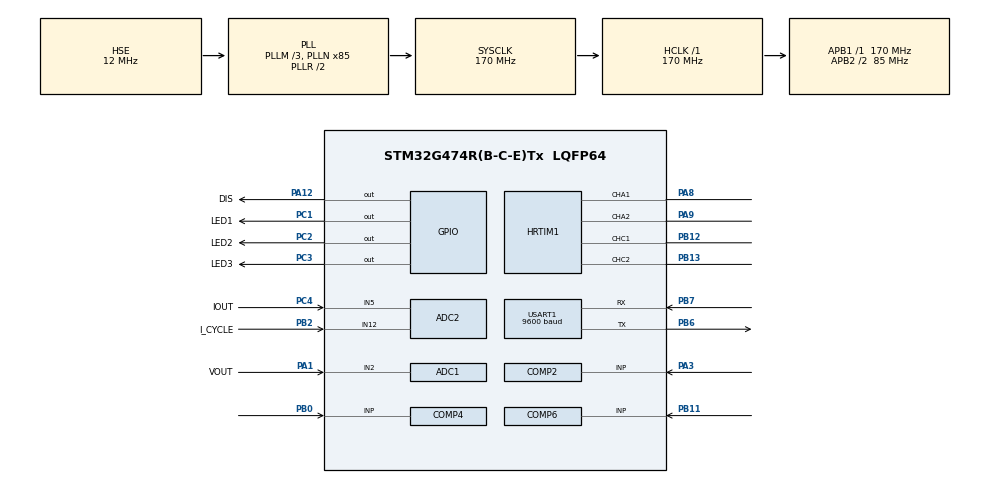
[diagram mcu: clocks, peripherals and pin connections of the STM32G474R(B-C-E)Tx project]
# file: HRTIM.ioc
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ADC1.Channel-0\#ChannelRegularConversion=ADC_CHANNEL_2
ADC1.EnableInjectedConversion=ENABLE
ADC1.EnableRegularConversion=ENABLE
ADC1.NbrOfConversionFlag=1
ADC1.OffsetNumber-0\#ChannelRegularConversion=ADC_OFFSET_NONE
ADC1.Rank-0\#ChannelRegularConversion=1
ADC1.SamplingTime-0\#ChannelRegularConversion=ADC_SAMPLETIME_247CYCLES_5
ADC1.master=1
ADC2.Channel-0\#ChannelRegularConversion=ADC_CHANNEL_12
ADC2.Channel-1\#ChannelRegularConversion=ADC_CHANNEL_5
ADC2.ContinuousConvMode=DISABLE
ADC2.DMAContinuousRequests=ENABLE
ADC2.EnableInjectedConversion=DISABLE
ADC2.ExternalTrigConv=ADC_EXTERNALTRIG_T3_TRGO
ADC2.NbrOfConversion=2
ADC2.NbrOfConversionFlag=1
ADC2.OffsetNumber-0\#ChannelRegularConversion=ADC_OFFSET_NONE
ADC2.OffsetNumber-1\#ChannelRegularConversion=ADC_OFFSET_NONE
ADC2.Rank-0\#ChannelRegularConversion=1
ADC2.Rank-1\#ChannelRegularConversion=2
ADC2.SamplingTime-0\#ChannelRegularConversion=ADC_SAMPLETIME_247CYCLES_5
ADC2.SamplingTime-1\#ChannelRegularConversion=ADC_SAMPLETIME_247CYCLES_5
COMP2.Hysteresis=COMP_HYSTERESIS_40MV
COMP2.OutputPol=COMP_OUTPUTPOL_NONINVERTED
COMP4.Hysteresis=COMP_HYSTERESIS_20MV
COMP6.Hysteresis=COMP_HYSTERESIS_20MV
DAC1.DAC_Channel-DAC_OUT2_Int=DAC_CHANNEL_2
DAC4.DAC_Channel-DAC_OUT2_Int=DAC_CHANNEL_2
Dma.ADC2.0.Direction=DMA_PERIPH_TO_MEMORY
Dma.ADC2.0.EventEnable=DISABLE
Dma.ADC2.0.Instance=DMA1_Channel1
Dma.ADC2.0.MemDataAlignment=DMA_MDATAALIGN_HALFWORD
Dma.ADC2.0.MemInc=DMA_MINC_ENABLE
Dma.ADC2.0.Mode=DMA_CIRCULAR
Dma.ADC2.0.PeriphDataAlignment=DMA_PDATAALIGN_HALFWORD
Dma.ADC2.0.PeriphInc=DMA_PINC_DISABLE
Dma.ADC2.0.Polarity=HAL_DMAMUX_REQ_GEN_RISING
Dma.ADC2.0.Priority=DMA_PRIORITY_LOW
Dma.ADC2.0.RequestNumber=1
Dma.ADC2.0.SignalID=NONE
Dma.ADC2.0.SyncEnable=DISABLE
Dma.ADC2.0.SyncPolarity=HAL_DMAMUX_SYNC_NO_EVENT
Dma.ADC2.0.SyncRequestNumber=1
Dma.ADC2.0.SyncSignalID=NONE
Dma.Request0=ADC2
HRTIM1.BlankingSourceFaultLine1=__NULL
HRTIM1.BlankingSourceFaultLine2=__NULL
HRTIM1.BlankingSourceFaultLine3=__NULL
HRTIM1.CompareUnit1-Output_TA1TA2=HRTIM_COMPAREUNIT_1
HRTIM1.CompareUnit1-Output_TC1TC2=HRTIM_COMPAREUNIT_1
HRTIM1.CompareUnit2-Output_TC1TC2=__NULL
HRTIM1.CompareUnit4-Output_TA1TA2=HRTIM_COMPAREUNIT_4
HRTIM1.CompareUnit4-Output_TC1TC2=HRTIM_COMPAREUNIT_4
HRTIM1.CompareValue1-Output_TC1TC2=13600
HRTIM1.CompareValue4-Output_TA1TA2=3072
HRTIM1.CompareValue4-Output_TC1TC2=26858
HRTIM1.CounterFaultLine1=0
HRTIM1.CounterFaultLine3=0
HRTIM1.DeadTimeInsertion-Output_TA1TA2=HRTIM_TIMDEADTIMEINSERTION_ENABLED
HRTIM1.DeadTimeInsertion-Output_TC1TC2=HRTIM_TIMDEADTIMEINSERTION_ENABLED
HRTIM1.Event3-Output_TA1TA2=__NULL
HRTIM1.Event4-Output_TA1TA2=__NULL
HRTIM1.Event_EEV1=__NULL
HRTIM1.Event_EEV2=__NULL
HRTIM1.Event_EEV3=__NULL
HRTIM1.Event_EEV4=__NULL
HRTIM1.Event_EEV6=__NULL
HRTIM1.FallingValue-Output_TA1TA2=340
HRTIM1.FallingValue-Output_TC1TC2=340
HRTIM1.FaultEnable_Source1-Output_TA1TA2=HRTIM_TIMFAULTENABLE_FAULT1
HRTIM1.FaultEnable_Source1-Output_TC1TC2=HRTIM_TIMFAULTENABLE_FAULT1
HRTIM1.FaultEnable_Source2-Output_TA1TA2=HRTIM_TIMFAULTENABLE_FAULT2
HRTIM1.FaultEnable_Source2-Output_TC1TC2=HRTIM_TIMFAULTENABLE_FAULT2
HRTIM1.FaultEnable_Source3-Output_TA1TA2=HRTIM_TIMFAULTENABLE_FAULT3
HRTIM1.FaultEnable_Source3-Output_TC1TC2=HRTIM_TIMFAULTENABLE_FAULT3
HRTIM1.FaultLevel1-Output_TA1TA2=HRTIM_OUTPUTFAULTLEVEL_INACTIVE
HRTIM1.FaultLevel1-Output_TC1TC2=HRTIM_OUTPUTFAULTLEVEL_INACTIVE
HRTIM1.FaultLevel2-Output_TA1TA2=HRTIM_OUTPUTFAULTLEVEL_INACTIVE
HRTIM1.FaultLevel2-Output_TC1TC2=HRTIM_OUTPUTFAULTLEVEL_INACTIVE
HRTIM1.Fault_Line1=HRTIM_FAULT_1
HRTIM1.Fault_Line2=HRTIM_FAULT_2
HRTIM1.Fault_Line3=HRTIM_FAULT_3
HRTIM1.Fault_Line4=__NULL
HRTIM1.Fault_Line6=__NULL
HRTIM1.Filter_FaultLine1=HRTIM_FAULTFILTER_9
HRTIM1.Filter_FaultLine2=HRTIM_FAULTFILTER_9
HRTIM1.Filter_FaultLine3=HRTIM_FAULTFILTER_9
HRTIM1.HRTIMInterruptResquests1=HRTIM_IT_FLT1
HRTIM1.HRTIMInterruptResquests2=HRTIM_IT_FLT2
HRTIM1.HRTIMInterruptResquests3=HRTIM_IT_FLT3
HRTIM1.InterleavedMode-Output_TA1TA2=HRTIM_INTERLEAVED_MODE_DUAL
HRTIM1.InterleavedMode-Output_TC1TC2=HRTIM_INTERLEAVED_MODE_DISABLED
HRTIM1.ModeTimeBase-Output_TA1TA2=HRTIM_MODE_SINGLESHOT_RETRIGGERABLE
HRTIM1.ModeTimeBase-Output_TC1TC2=HRTIM_MODE_SINGLESHOT_RETRIGGERABLE
HRTIM1.NumberFaultEnable-Output_TA1TA2=3
HRTIM1.NumberFaultEnable-Output_TC1TC2=3
HRTIM1.NumberResetSource1-Output_TA1TA2=1
HRTIM1.NumberResetSource1-Output_TC1TC2=1
HRTIM1.NumberResetTrigger-Output_TA1TA2=1
HRTIM1.NumberResetTrigger-Output_TC1TC2=1
HRTIM1.NumberSetSource1-Output_TA1TA2=1
HRTIM1.NumberSetSource1-Output_TC1TC2=1
HRTIM1.NumberSetSource2_TC=0
HRTIM1.NumberUpdateTrigger-Output_TA1TA2=1
HRTIM1.NumberUpdateTrigger-Output_TC1TC2=1
HRTIM1.Periode_MASTER=21760
HRTIM1.Periode_TA=21760
HRTIM1.Periode_TC=21760
HRTIM1.Polarity_FaultLine1=HRTIM_FAULTPOLARITY_LOW
HRTIM1.PreloadEnable-MasterTimer=HRTIM_PRELOAD_ENABLED
HRTIM1.PreloadEnable-Output_TA1TA2=HRTIM_PRELOAD_ENABLED
HRTIM1.PreloadEnable-Output_TC1TC2=HRTIM_PRELOAD_ENABLED
HRTIM1.PrescalerRatio_MASTER=HRTIM_PRESCALERRATIO_MUL32
HRTIM1.ReSyncUpdate-Output_TA1TA2=HRTIM_TIMERESYNC_UPDATE_CONDITIONAL
HRTIM1.ReSyncUpdate-Output_TC1TC2=HRTIM_TIMERESYNC_UPDATE_CONDITIONAL
HRTIM1.RepetitionCounter-MasterTimer=0x03
HRTIM1.RepetitionCounter-Output_TA1TA2=3
HRTIM1.RepetitionCounter-Output_TC1TC2=0x03
HRTIM1.RepetitionUpdate-MasterTimer=HRTIM_UPDATEONREPETITION_ENABLED
HRTIM1.RepetitionUpdate-Output_TA1TA2=HRTIM_UPDATEONREPETITION_ENABLED
HRTIM1.RepetitionUpdate-Output_TC1TC2=HRTIM_UPDATEONREPETITION_ENABLED
HRTIM1.ResetOutput1_Source1-Output_TA1TA2=HRTIM_OUTPUTRESET_TIMCMP1
HRTIM1.ResetOutput1_Source1-Output_TC1TC2=HRTIM_OUTPUTRESET_TIMCMP4
HRTIM1.ResetTrigger1-Output_TA1TA2=HRTIM_TIMRESETTRIGGER_MASTER_PER
HRTIM1.ResetTrigger1-Output_TC1TC2=HRTIM_TIMRESETTRIGGER_MASTER_PER
HRTIM1.RisingValue-Output_TA1TA2=340
HRTIM1.RisingValue-Output_TC1TC2=340
HRTIM1.SetOutput1_Source1-Output_TA1TA2=HRTIM_OUTPUTSET_MASTERPER
HRTIM1.SetOutput1_Source1-Output_TC1TC2=HRTIM_OUTPUTSET_TIMCMP1
HRTIM1.UpdateTrigger1-Output_TA1TA2=HRTIM_TIMUPDATETRIGGER_MASTER
HRTIM1.UpdateTrigger1-Output_TC1TC2=HRTIM_TIMUPDATETRIGGER_MASTER
IWDG.Prescaler=IWDG_PRESCALER_256
IWDG.Reload=250
IWDG.Window=4095
Mcu.Family=STM32G4
Mcu.Name=STM32G474R(B-C-E)Tx
Mcu.Package=LQFP64
NVIC.DMA1_Channel1_IRQn=true\:0\:0\:false\:false\:true\:false\:true\:true
NVIC.HRTIM1_FLT_IRQn=true\:0\:0\:false\:false\:true\:true\:true\:true
NVIC.HRTIM1_Master_IRQn=true\:0\:0\:false\:false\:true\:true\:true\:true
NVIC.PriorityGroup=NVIC_PRIORITYGROUP_4
NVIC.TIM3_IRQn=true\:0\:0\:false\:false\:true\:true\:true\:true
PA1.GPIO_Label=VOUT
PA1.Mode=IN2-Single-Ended
PA1.Signal=ADC1_IN2
PA12.GPIO_Label=DIS
PA12.GPIO_PuPd=GPIO_PULLUP
PA12.PinState=GPIO_PIN_SET
PA12.Signal=GPIO_Output
PA13.Mode=Serial_Wire
PA13.Signal=SYS_JTMS-SWDIO
PA14.Mode=Serial_Wire
PA14.Signal=SYS_JTCK-SWCLK
PA3.Mode=INP
PA3.Signal=COMP2_INP
PA8.GPIO_PuPd=GPIO_PULLDOWN
PA8.Mode=Output_TA1TA2
PA8.Signal=HRTIM1_CHA1
PA9.GPIO_PuPd=GPIO_PULLDOWN
PA9.Mode=Output_TA1TA2
PA9.Signal=HRTIM1_CHA2
PB0.Mode=INP
PB0.Signal=COMP4_INP
PB11.Mode=INP
PB11.Signal=COMP6_INP
PB12.GPIO_PuPd=GPIO_PULLDOWN
PB12.Mode=Output_TC1TC2
PB12.Signal=HRTIM1_CHC1
PB13.GPIO_PuPd=GPIO_PULLDOWN
PB13.Mode=Output_TC1TC2
PB13.Signal=HRTIM1_CHC2
PB2.GPIO_Label=I_CYCLE
PB2.Mode=IN12-Single-Ended
PB2.Signal=ADC2_IN12
PB6.Mode=Asynchronous
PB6.Signal=USART1_TX
PB7.Mode=Asynchronous
PB7.Signal=USART1_RX
PC1.GPIO_Label=LED1
PC1.GPIO_ModeDefaultOutputPP=GPIO_MODE_OUTPUT_OD
PC1.GPIO_PuPd=GPIO_PULLUP
PC1.PinState=GPIO_PIN_SET
PC1.Signal=GPIO_Output
PC2.GPIO_Label=LED2
PC2.GPIO_ModeDefaultOutputPP=GPIO_MODE_OUTPUT_OD
PC2.GPIO_PuPd=GPIO_PULLUP
PC2.PinState=GPIO_PIN_SET
PC2.Signal=GPIO_Output
PC3.GPIO_Label=LED3
PC3.GPIO_ModeDefaultOutputPP=GPIO_MODE_OUTPUT_OD
PC3.GPIO_PuPd=GPIO_PULLUP
PC3.PinState=GPIO_PIN_SET
PC3.Signal=GPIO_Output
PC4.GPIO_Label=IOUT
PC4.Mode=IN5-Single-Ended
PC4.Signal=ADC2_IN5
PF0-OSC_IN.Mode=HSE-External-Oscillator
PF0-OSC_IN.Signal=RCC_OSC_IN
PF1-OSC_OUT.Mode=HSE-External-Oscillator
PF1-OSC_OUT.Signal=RCC_OSC_OUT
ProjectManager.HeapSize=0x200
ProjectManager.StackSize=0x400
ProjectManager.TargetToolchain=CMake
RCC.ADC12Freq_Value=170000000
RCC.ADC345Freq_Value=170000000
RCC.AHBFreq_Value=170000000
RCC.APB1Freq_Value=170000000
RCC.APB1TimFreq_Value=170000000
RCC.APB2CLKDivider=RCC_HCLK_DIV2
RCC.APB2Freq_Value=85000000
RCC.APB2TimFreq_Value=170000000
RCC.CortexFreq_Value=170000000
RCC.EXTERNAL_CLOCK_VALUE=12288000
RCC.HCLKFreq_Value=170000000
RCC.HSE_VALUE=12000000
RCC.HSI48_VALUE=48000000
RCC.HSI_VALUE=16000000
RCC.LSE_VALUE=32768
RCC.PLLM=RCC_PLLM_DIV3
RCC.PLLN=85
RCC.PLLSourceVirtual=RCC_PLLSOURCE_HSE
RCC.SYSCLKFreq_VALUE=170000000
RCC.SYSCLKSource=RCC_SYSCLKSOURCE_PLLCLK
RCC.USBFreq_Value=170000000
RCC.VCOOutputFreq_Value=340000000
STMicroelectronics.X-CUBE-ALGOBUILD.1.4.0.LibraryCcDSPOoLibraryJjDSPOoLibrary=true
TIM3.PeriodNoDither=17000-1
TIM3.TIM_MasterOutputTrigger=TIM_TRGO_UPDATE
USART1.BaudRate=9600
USART1.VirtualMode-Asynchronous=VM_ASYNC
VP_COMP2_VS_DAC1OUT2.Mode=INM_DAC1OUT2
VP_COMP4_VS_DAC1OUT1.Mode=INM_DAC1OUT1
VP_COMP6_VS_DAC4OUT2.Mode=INM_DAC4OUT2
VP_DAC1_VS_DACI1.Mode=DAC_OUT1_Int
VP_DAC1_VS_DACI2.Mode=DAC_OUT2_Int
VP_DAC2_VS_DACI1.Mode=DAC_OUT1_Int
VP_DAC4_VS_DACI2.Mode=DAC_OUT2_Int
VP_HRTIM1_VS_hrtimMasterTimerNoOutput.Mode=MasterTimer
VP_IWDG_VS_IWDG.Mode=IWDG_Activate
VP_STMicroelectronics.X-CUBE-ALGOBUILD_VS_DSPOoLibraryJjLibrary_1.4.0_1.4.0.Mode=DSPOoLibraryJjLibrary
VP_SYS_VS_DBSignals.Mode=DisableDeadBatterySignals
VP_TIM3_VS_ClockSourceINT.Mode=Internal
board=custom

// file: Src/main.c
/* USER CODE BEGIN Header */
/**
  ******************************************************************************
  * @file           : main.c
  * @brief          : Main program body
  ******************************************************************************
  * @attention
  *
  * Copyright (c) 2026 STMicroelectronics.
  * All rights reserved.
  *
  * This software is licensed under terms that can be found in the LICENSE file
  * in the root directory of this software component.
  * If no LICENSE file comes with this software, it is provided AS-IS.
  *
  ******************************************************************************
  */
/* USER CODE END Header */
#include "main.h"
#include "adc.h"
#include "comp.h"
#include "dac.h"
#include "dma.h"
#include "hrtim.h"
#include "iwdg.h"
#include "tim.h"
#include "usart.h"
#include "gpio.h"

/* USER CODE BEGIN Includes */
#include "arm_math.h"
#include "io_retarget.h"
#include <iso646.h>
#include <stdio.h>
#include "freq_skip.h"
#include "fault_log.h"
#include "adc_app.h"     /* 统一 ADC 采样（VAUX/VOUT/I_CYCLE/IOUT）*/
#include "safe_sm.h"
/* USER CODE END Includes */

/* USER CODE BEGIN PV */

const uint16_t sine_table[64] = {
     931,1022,1112,1201,1287,1370,1448,1522,
    1589,1650,1705,1752,1791,1822,1844,1857,
    1861,1857,1844,1822,1791,1752,1705,1650,
    1589,1522,1448,1370,1287,1201,1112,1022,
     931, 840, 750, 661, 575, 492, 414, 340,
     273, 212, 157, 110,  71,  40,  18,   5,
       0,   5,  18,  40,  71, 110, 157, 212,
     273, 340, 414, 492, 575, 661, 750, 840
};

/* USER CODE END PV */

void SystemClock_Config(void);

int main(void)
{

  /* MCU Configuration--------------------------------------------------------*/

  /* Reset of all peripherals, Initializes the Flash interface and the Systick. */
  HAL_Init();

  /* Configure the system clock */
  SystemClock_Config();

  /* Initialize all configured peripherals */
  MX_GPIO_Init();
  MX_DMA_Init();
  MX_HRTIM1_Init();
  MX_DAC1_Init();
  MX_ADC1_Init();
  MX_COMP2_Init();
  MX_COMP4_Init();
  MX_COMP6_Init();
  MX_DAC2_Init();
  MX_DAC4_Init();
  MX_ADC2_Init();
  MX_USART1_UART_Init();
  MX_TIM3_Init();
  MX_IWDG_Init();
  /* USER CODE BEGIN 2 */

  /* 调试时冻结 IWDG：核心 halt(断点/单步)时停狗，避免调试中被看门狗复位。
   * 不影响正常运行（仅在调试器暂停内核时生效）。*/
  __HAL_DBGMCU_FREEZE_IWDG();

  /* ---- INIT：复位后第一件事，强制封波 + DIS 失能，杜绝重启窗口出现 PWM ---- */
  SafeSM_Init();                 /* HRTIM 输出 inactive + DIS=SET(失能) + 状态归 WAIT_AUX */
  SafeSM_ConfigBrownout();       /* MCU 自身 PVD 欠压预警（BOR 见 safe_sm.c 顶部，为 option byte）*/

  /* 启动统一 ADC 采样（App/adc_app.c）：ADC1/ADC2 自校准 + TIM3 10kHz 周期中断。
   * 默认启用 VAUX(ADC1/PA1)，VOUT/I_CYCLE/IOUT 通过 adc_app.h 开关按需启用。*/
  ADC_APP_Init();               /* 统一 ADC 采样启动：自校准 + TIM3 10kHz（VAUX 默认开启）*/

  /* 关闭 stdout 缓冲：裸机 newlib 默认全缓冲，\n 不 flush，会导致"串口没输出"。*/
  setvbuf(stdout, NULL, _IONBF, 0);
  printf("\r\n[BOOT] G474_HRTIM start, USART1 115200 8N1\r\n");
  printf("[BOOT] safe-reentry armed: wait VAUX>=%umV stable before PWM\r\n",
         (unsigned)VAUX_REARM_MV);

//   // 禁用Fault，清除上电误触发
HAL_HRTIM_FaultModeCtl(&hhrtim1, HRTIM_FAULT_1, HRTIM_FAULTMODECTL_DISABLED);
HAL_HRTIM_FaultModeCtl(&hhrtim1, HRTIM_FAULT_2, HRTIM_FAULTMODECTL_DISABLED);
HAL_HRTIM_FaultModeCtl(&hhrtim1, HRTIM_FAULT_3, HRTIM_FAULTMODECTL_DISABLED);
HRTIM1->sCommonRegs.ICR = HRTIM_ICR_FLT1C | HRTIM_ICR_FLT2C|HRTIM_ICR_FLT3C;

HAL_COMP_Start(&hcomp2);
HAL_DAC_Start(&hdac1,DAC1_CHANNEL_2 );
/* COMP2(PA3, IN+=VAUX 分压) 阈值改为 VAUX 欠压闸 21V(≈2606 码)。配合 HRTIM Fault1
 * 「低有效 + latched」(CubeMX 配置)：COMP 输出低=VAUX<21V=故障，硬件纳秒级封死 PWM。*/
HAL_DAC_SetValue(&hdac1, DAC1_CHANNEL_2, DAC_ALIGN_12B_R, VAUX_HW_TRIP_DAC);
HAL_COMP_Start(&hcomp4);
HAL_DAC_Start(&hdac1,DAC1_CHANNEL_1 );
HAL_DAC_SetValue(&hdac1, DAC1_CHANNEL_1, DAC_ALIGN_12B_R, 3500);
HAL_COMP_Start(&hcomp6);
HAL_DAC_Start(&hdac4,DAC1_CHANNEL_2 );
HAL_DAC_SetValue(&hdac4, DAC1_CHANNEL_2, DAC_ALIGN_12B_R, 3500);

// // 等待dac上拉稳定
HAL_Delay(1);

// // 清除延迟期间可能产生的误触发
HRTIM1->sCommonRegs.ICR = HRTIM_ICR_FLT1C | HRTIM_ICR_FLT2C|HRTIM_ICR_FLT3C;

// // 重新使能Fault 1
HAL_HRTIM_FaultModeCtl(&hhrtim1, HRTIM_FAULT_1, HRTIM_FAULTMODECTL_ENABLED);
// HAL_HRTIM_FaultModeCtl(&hhrtim1, HRTIM_FAULT_2, HRTIM_FAULTMODECTL_ENABLED);
HAL_HRTIM_FaultModeCtl(&hhrtim1, HRTIM_FAULT_3, HRTIM_FAULTMODECTL_ENABLED);

/* 使能 HRTIM 故障中断（FLT1=VAUX 欠压, FLT2/3=OCP/OVP），触发时软件记录并锁死。
 * 注意：此处【不】启动 PWM、【不】使能 DIS、【不】调 LLC_SoftStart_Init —— 这些全部推迟到
 * 安全状态机 WAIT_AUX→SOFTSTART（确认 VAUX≥23V 稳定后）才执行，杜绝重启窗口误开通。
 * 若上电时 VAUX<21V，FLT1(低有效) 会立即锁存，属预期；SM 启动时再统一清除。
 * PWM 启动序列(WaveformOutputStart + CountStart(MASTER|TIMER_A) + 使能 DIS + LLC_SoftStart_Init)
 * 现由 safe_sm.c 的 SafeSM_Poll() 在 WAIT_AUX→SOFTSTART 转移里完成。*/
Fault_IRQ_Enable();

  /* USER CODE END 2 */

  /* Infinite loop */
  while (1)
  {

    /* USER CODE BEGIN 3 */
    HAL_IWDG_Refresh(&hiwdg);  /* 喂狗：只要主循环还在转就喂；卡死(busy-wait/ISR风暴/UART楔死)→停喂→~2s 后复位回 INIT 安全态 */
    SafeSM_Poll();          /* 安全状态机：WAIT_AUX/SOFTSTART/RUN/FAULT 转移 + PVD 轮询 */
    Fault_Report_Poll();    /* 串口诊断：故障详情 + [STAT] 心跳 + [REGS] 一次性寄存器 dump */
  }
  /* USER CODE END 3 */
}

void SystemClock_Config(void)
{
  RCC_OscInitTypeDef RCC_OscInitStruct = {0};
  RCC_ClkInitTypeDef RCC_ClkInitStruct = {0};

  /** Configure the main internal regulator output voltage
  */
  HAL_PWREx_ControlVoltageScaling(PWR_REGULATOR_VOLTAGE_SCALE1_BOOST);

  /** Initializes the RCC Oscillators according to the specified parameters
  * in the RCC_OscInitTypeDef structure.
  */
  RCC_OscInitStruct.OscillatorType = RCC_OSCILLATORTYPE_LSI|RCC_OSCILLATORTYPE_HSE;
  RCC_OscInitStruct.HSEState = RCC_HSE_ON;
  RCC_OscInitStruct.LSIState = RCC_LSI_ON;
  RCC_OscInitStruct.PLL.PLLState = RCC_PLL_ON;
  RCC_OscInitStruct.PLL.PLLSource = RCC_PLLSOURCE_HSE;
  RCC_OscInitStruct.PLL.PLLM = RCC_PLLM_DIV3;
  RCC_OscInitStruct.PLL.PLLN = 85;
  RCC_OscInitStruct.PLL.PLLP = RCC_PLLP_DIV2;
  RCC_OscInitStruct.PLL.PLLQ = RCC_PLLQ_DIV2;
  RCC_OscInitStruct.PLL.PLLR = RCC_PLLR_DIV2;
  if (HAL_RCC_OscConfig(&RCC_OscInitStruct) != HAL_OK)
  {
    Error_Handler();
  }

  /** Initializes the CPU, AHB and APB buses clocks
  */
  RCC_ClkInitStruct.ClockType = RCC_CLOCKTYPE_HCLK|RCC_CLOCKTYPE_SYSCLK
                              |RCC_CLOCKTYPE_PCLK1|RCC_CLOCKTYPE_PCLK2;
  RCC_ClkInitStruct.SYSCLKSource = RCC_SYSCLKSOURCE_PLLCLK;
  RCC_ClkInitStruct.AHBCLKDivider = RCC_SYSCLK_DIV1;
  RCC_ClkInitStruct.APB1CLKDivider = RCC_HCLK_DIV1;
  RCC_ClkInitStruct.APB2CLKDivider = RCC_HCLK_DIV2;

  if (HAL_RCC_ClockConfig(&RCC_ClkInitStruct, FLASH_LATENCY_4) != HAL_OK)
  {
    Error_Handler();
  }
}

void Error_Handler(void)
{
  __disable_irq();
  while (1)
  {
  }
}
